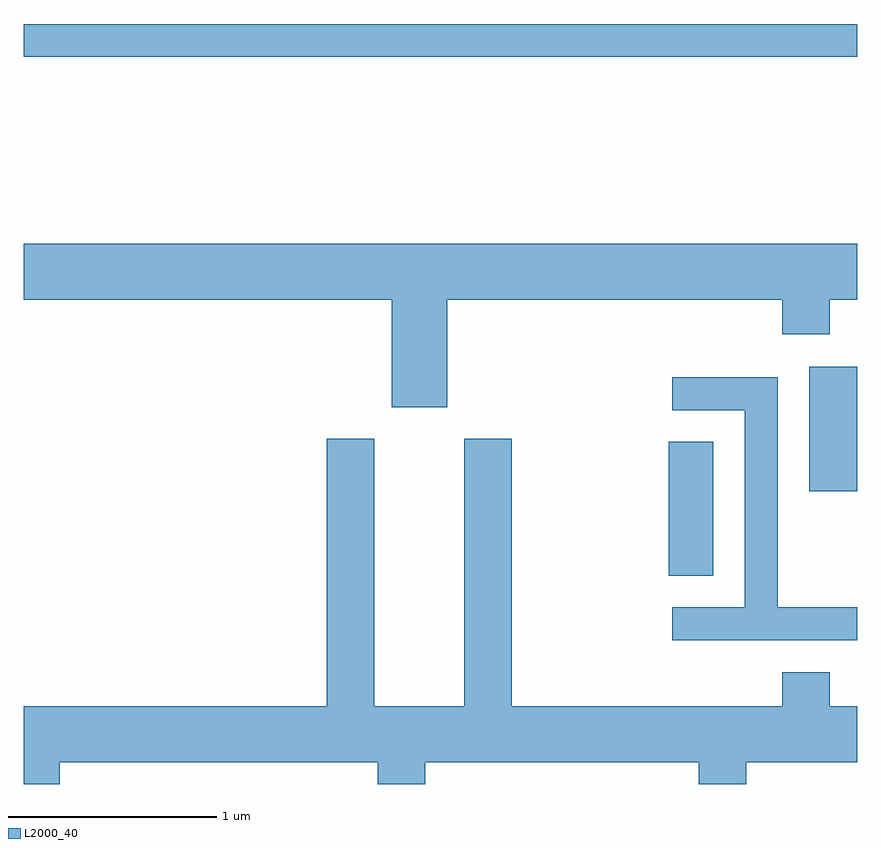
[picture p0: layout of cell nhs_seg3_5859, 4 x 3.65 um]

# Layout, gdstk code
import gdstk
lib = gdstk.Library(unit=1e-6, precision=1e-09)
def R(c, l, rs):  # rectangles x0, y0, x1, y1
    for r in rs: c.add(gdstk.rectangle(r[:2], r[2:], *l))
def P(c, l, *ps):  # polygons
    for p in ps: c.add(gdstk.Polygon(p, *l))
L2000_40 = (2000, 40)

nhs_seg3_5859 = lib.new_cell('nhs_seg3_5859')
R(nhs_seg3_5859, L2000_40, [(360.706,1146.891,360.919,1147.534), (361.381,1147.296,361.611,1147.894), (357.611,1149.381,361.611,1149.539)])
P(nhs_seg3_5859, L2000_40, [(359.644,1148.216),(361.251,1148.216),(361.251,1148.051),(361.479,1148.051),(361.479,1148.216),(361.611,1148.216),(361.611,1148.484),(357.611,1148.484),(357.611,1148.216),(359.376,1148.216),(359.376,1147.701),(359.644,1147.701)],
  [(361.611,1146.739),(361.229,1146.739),(361.229,1147.844),(360.723,1147.844),(360.723,1147.686),(361.071,1147.686),(361.071,1146.739),(360.723,1146.739),(360.723,1146.581),(361.611,1146.581)],
  [(357.784,1145.996),(359.311,1145.996),(359.311,1145.892),(359.539,1145.892),(359.539,1145.996),(360.851,1145.996),(360.851,1145.892),(361.079,1145.892),(361.079,1145.996),(361.611,1145.996),(361.611,1146.264),(361.479,1146.264),(361.479,1146.429),(361.251,1146.429),(361.251,1146.264),(359.954,1146.264),(359.954,1147.549),(359.726,1147.549),(359.726,1146.264),(359.294,1146.264),(359.294,1147.549),(359.066,1147.549),(359.066,1146.264),(357.611,1146.264),(357.611,1145.892),(357.784,1145.892)])

lib.write_gds('nhs_seg3_5859.gds')
